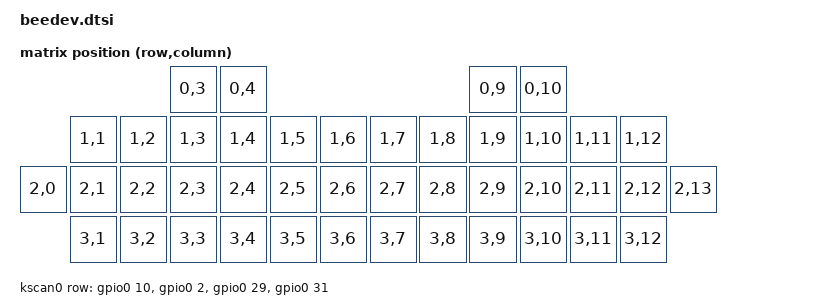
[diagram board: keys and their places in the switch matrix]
#include <dt-bindings/zmk/matrix_transform.h>

/ {
    chosen {
        zmk,kscan = &kscan0;
        zmk,matrix_transform = &default_transform;
    };

    default_transform: keymap_transform_0 {
        compatible = "zmk,matrix-transform";
        columns = <14>;
        rows = <4>;

        map = <
                                    RC(0,3) RC(0,4)                                     RC(0,9) RC(0,10)                     
                    RC(1,1) RC(1,2) RC(1,3) RC(1,4) RC(1,5) RC(1,6)     RC(1,7) RC(1,8) RC(1,9) RC(1,10) RC(1,11) RC(1,12)
            RC(2,0) RC(2,1) RC(2,2) RC(2,3) RC(2,4) RC(2,5) RC(2,6)     RC(2,7) RC(2,8) RC(2,9) RC(2,10) RC(2,11) RC(2,12) RC(2,13) 
                    RC(3,1) RC(3,2) RC(3,3) RC(3,4) RC(3,5) RC(3,6)     RC(3,7) RC(3,8) RC(3,9) RC(3,10) RC(3,11) RC(3,12) 
        >;
    };

    kscan0: kscan {
        compatible = "zmk,kscan-gpio-matrix";

        diode-direction = "col2row";
        row-gpios = <&gpio0 10 (GPIO_PULL_DOWN)>,
                    <&gpio0 2 (GPIO_PULL_DOWN)>,
                    <&gpio0 29 (GPIO_PULL_DOWN)>,
                    <&gpio0 31 (GPIO_PULL_DOWN)>;
    };
};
